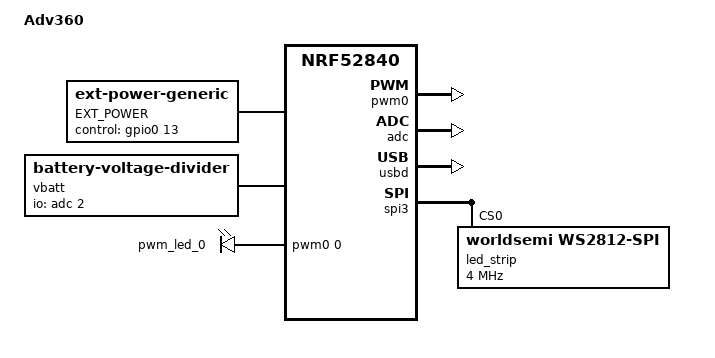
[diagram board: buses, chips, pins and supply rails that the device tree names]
/*
*
* Copyright (c) 2021 Polarity Works
* SPDX-License-Identifier: MIT
*
*/

/dts-v1/;
#include <nordic/nrf52840_qiaa.dtsi>

#include <dt-bindings/led/led.h>

#include "adv360-layouts.dtsi"
#include "adv360-transform.dtsi"
#include "adv360_pinctrl.dtsi"

&physical_layout0 {
    transform = <&matrix_transform0>;
};

/ {
    model = "Adv360";
    compatible = "kinesis,adv360";

    chosen {
        zephyr,code-partition = &code_partition;
        zephyr,sram = &sram0;
        zephyr,flash = &flash0;
        zmk,kscan = &kscan0;
        zmk,backlight = &backlight;
        zmk,battery = &vbatt;
        zmk,physical-layout = &physical_layout0;
        zmk,underglow = &led_strip;
    };

    EXT_POWER {
            compatible = "zmk,ext-power-generic";
            control-gpios = <&gpio0 13 GPIO_ACTIVE_HIGH>;
        };

    vbatt: vbatt {
        compatible = "zmk,battery-voltage-divider";
        io-channels = <&adc 2>;
        output-ohms = <100000>;
        full-ohms = <(100000 + 100000)>;
    };

    backlight: pwmleds {
            compatible = "pwm-leds";
            pwm_led_0 {
                pwms = <&pwm0 0 10000 PWM_POLARITY_NORMAL>;
            };
        };

};

&pwm0 {
    status = "okay";
    pinctrl-0 = <&pwm0_default>;
    pinctrl-1 = <&pwm0_sleep>;
    pinctrl-names = "default", "sleep";
};

&adc {
    status = "okay";
};

&gpiote {
    status = "okay";
};

&gpio0 {
    status = "okay";
};

&gpio1 {
    status = "okay";
};

zephyr_udc0: &usbd {
    status = "okay";
};


&flash0 {
    /*
     * For more information, see:
     * http://docs.zephyrproject.org/latest/devices/dts/flash_partitions.html
     */
    partitions {
        compatible = "fixed-partitions";
        #address-cells = <1>;
        #size-cells = <1>;

        sd_partition: partition@0 {
            reg = <0x00000000 0x00026000>;
        };
        code_partition: partition@26000 {
            reg = <0x00026000 0x000c6000>;
        };

        /*
         * The flash starting at 0x000ec000 and ending at
         * 0x000f3fff is reserved for use by the application.
         */

        /*
         * Storage partition will be used by FCB/LittleFS/NVS
         * if enabled.
         */
        storage_partition: partition@ec000 {
            reg = <0x000ec000 0x00008000>;
        };

        boot_partition: partition@f4000 {
            reg = <0x000f4000 0x0000c000>;
        };
    };
};

&spi3 {
    compatible = "nordic,nrf-spim";
    status = "okay";
    pinctrl-0 = <&spi3_default>;
    pinctrl-1 = <&spi3_sleep>;
    pinctrl-names = "default", "sleep";

    led_strip: ws2812@0 {
        compatible = "worldsemi,ws2812-spi";

        /* SPI */
        reg = <0>;
        spi-max-frequency = <4000000>;

        /* WS2812 */
        chain-length = <3>; /* number of LEDs */
        spi-one-frame = <0x70>;
        spi-zero-frame = <0x40>;

        color-mapping = <LED_COLOR_ID_GREEN
                   LED_COLOR_ID_RED
                   LED_COLOR_ID_BLUE>;
    };
};
